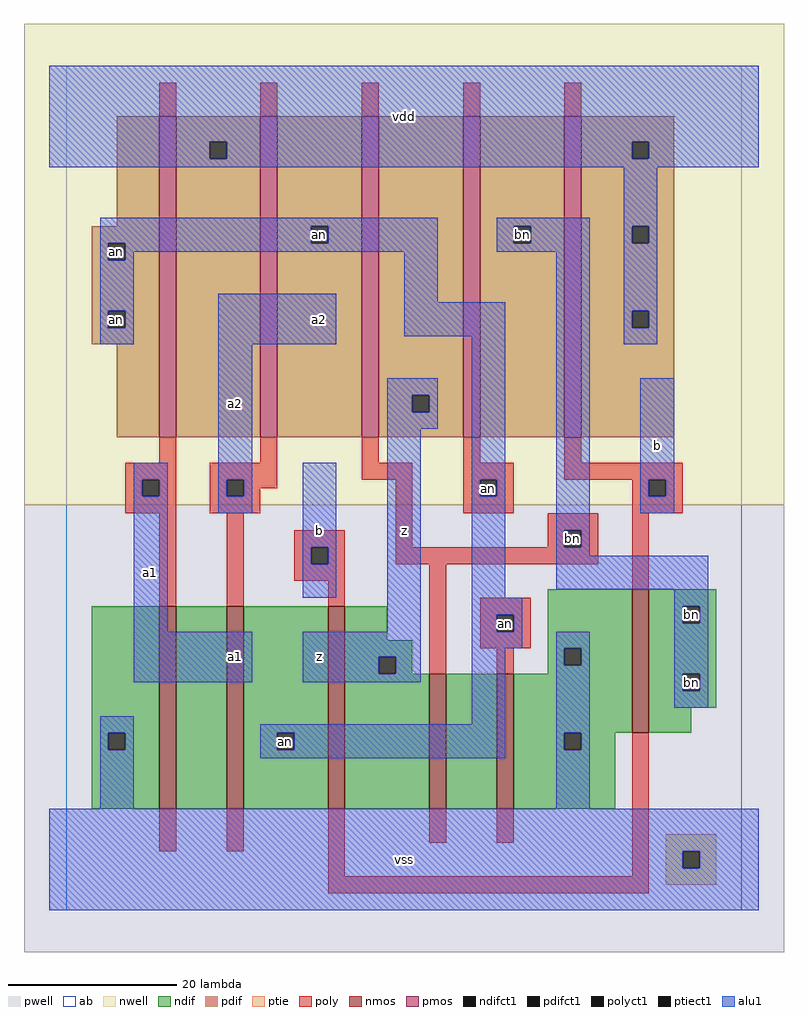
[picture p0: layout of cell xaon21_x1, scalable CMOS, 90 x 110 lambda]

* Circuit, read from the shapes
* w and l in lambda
.subckt xaon21_x1 a1 a2 an b bn vdd vss z
M1 n1 a1 vss vss nfet w=24 l=2
M2 an a2 n1 vss nfet w=24 l=2
M3 z b an vss nfet w=24 l=2
M4 n2 bn z vss nfet w=16 l=2
M5 vss an n2 vss nfet w=16 l=2
M6 bn b vss vss nfet w=17 l=2
M7 vdd a1 an n3 pfet w=38 l=2
M8 an a2 vdd n3 pfet w=38 l=2
M9 z bn an n3 pfet w=38 l=2
M10 bn an z n3 pfet w=38 l=2
M11 vdd b bn n3 pfet w=38 l=2
.ends

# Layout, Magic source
magic
tech scmos
<< ab >>
rect 0 0 80 100
<< nwell >>
rect -5 48 85 105
<< pwell >>
rect -5 -5 85 48
<< poly >>
rect 11 94 13 98
rect 23 94 25 98
rect 35 94 37 98
rect 47 94 49 98
rect 59 94 61 98
rect 11 53 13 56
rect 23 53 25 56
rect 7 51 13 53
rect 7 49 9 51
rect 11 49 13 51
rect 7 47 13 49
rect 17 51 25 53
rect 35 53 37 56
rect 47 53 49 56
rect 59 53 61 56
rect 35 51 41 53
rect 17 49 19 51
rect 21 50 25 51
rect 21 49 23 50
rect 17 47 23 49
rect 11 36 13 47
rect 19 36 21 47
rect 27 43 33 45
rect 27 41 29 43
rect 31 41 33 43
rect 39 43 41 51
rect 47 51 53 53
rect 59 51 73 53
rect 47 49 49 51
rect 51 49 53 51
rect 47 47 53 49
rect 67 49 69 51
rect 71 49 73 51
rect 67 47 73 49
rect 57 45 63 47
rect 57 43 59 45
rect 61 43 63 45
rect 39 41 63 43
rect 27 39 33 41
rect 31 36 33 39
rect 43 28 45 41
rect 67 38 69 47
rect 49 35 55 37
rect 49 33 51 35
rect 53 33 55 35
rect 49 31 55 33
rect 51 28 53 31
rect 11 7 13 12
rect 19 7 21 12
rect 31 4 33 12
rect 43 8 45 12
rect 51 8 53 12
rect 67 4 69 21
rect 31 2 69 4
<< ndif >>
rect 3 21 11 36
rect 3 19 5 21
rect 7 19 11 21
rect 3 12 11 19
rect 13 12 19 36
rect 21 21 31 36
rect 21 19 25 21
rect 27 19 31 21
rect 21 12 31 19
rect 33 32 38 36
rect 33 30 41 32
rect 33 28 37 30
rect 39 28 41 30
rect 57 31 67 38
rect 57 29 59 31
rect 61 29 67 31
rect 57 28 67 29
rect 33 12 43 28
rect 45 12 51 28
rect 53 21 67 28
rect 69 36 77 38
rect 69 34 73 36
rect 75 34 77 36
rect 69 28 77 34
rect 69 26 73 28
rect 75 26 77 28
rect 69 24 77 26
rect 69 21 74 24
rect 53 19 59 21
rect 61 19 65 21
rect 53 12 65 19
<< pdif >>
rect 6 81 11 94
rect 3 79 11 81
rect 3 77 5 79
rect 7 77 11 79
rect 3 71 11 77
rect 3 69 5 71
rect 7 69 11 71
rect 3 67 11 69
rect 6 56 11 67
rect 13 91 23 94
rect 13 89 17 91
rect 19 89 23 91
rect 13 56 23 89
rect 25 81 35 94
rect 25 79 29 81
rect 31 79 35 81
rect 25 56 35 79
rect 37 61 47 94
rect 37 59 41 61
rect 43 59 47 61
rect 37 56 47 59
rect 49 81 59 94
rect 49 79 53 81
rect 55 79 59 81
rect 49 56 59 79
rect 61 91 72 94
rect 61 89 67 91
rect 69 89 72 91
rect 61 81 72 89
rect 61 79 67 81
rect 69 79 72 81
rect 61 71 72 79
rect 61 69 67 71
rect 69 69 72 71
rect 61 56 72 69
<< alu1 >>
rect -2 91 82 100
rect -2 89 17 91
rect 19 89 67 91
rect 69 89 82 91
rect -2 88 82 89
rect 4 81 44 82
rect 4 79 29 81
rect 31 79 44 81
rect 4 77 5 79
rect 7 78 44 79
rect 51 81 62 82
rect 51 79 53 81
rect 55 79 62 81
rect 51 78 62 79
rect 7 77 8 78
rect 4 71 8 77
rect 4 69 5 71
rect 7 69 8 71
rect 4 67 8 69
rect 18 67 32 73
rect 40 72 44 78
rect 40 68 52 72
rect 8 51 12 53
rect 8 49 9 51
rect 11 49 12 51
rect 8 33 12 49
rect 18 51 22 67
rect 38 61 44 63
rect 38 59 41 61
rect 43 59 44 61
rect 38 57 44 59
rect 18 49 19 51
rect 21 49 22 51
rect 18 47 22 49
rect 28 43 32 53
rect 28 41 29 43
rect 31 41 32 43
rect 28 37 32 41
rect 38 33 42 57
rect 8 27 22 33
rect 28 30 42 33
rect 28 28 37 30
rect 39 28 42 30
rect 28 27 42 28
rect 48 51 52 68
rect 48 49 49 51
rect 51 49 52 51
rect 48 37 52 49
rect 58 45 62 78
rect 66 81 70 88
rect 66 79 67 81
rect 69 79 70 81
rect 66 71 70 79
rect 66 69 67 71
rect 69 69 70 71
rect 66 67 70 69
rect 68 51 72 63
rect 68 49 69 51
rect 71 49 72 51
rect 68 47 72 49
rect 58 43 59 45
rect 61 43 62 45
rect 58 42 62 43
rect 58 38 76 42
rect 48 35 54 37
rect 48 33 51 35
rect 53 33 54 35
rect 72 36 76 38
rect 72 34 73 36
rect 75 34 76 36
rect 48 31 54 33
rect 58 31 62 33
rect 4 21 8 23
rect 48 22 52 31
rect 4 19 5 21
rect 7 19 8 21
rect 4 12 8 19
rect 23 21 52 22
rect 23 19 25 21
rect 27 19 52 21
rect 23 18 52 19
rect 58 29 59 31
rect 61 29 62 31
rect 58 21 62 29
rect 72 28 76 34
rect 72 26 73 28
rect 75 26 76 28
rect 72 24 76 26
rect 58 19 59 21
rect 61 19 62 21
rect 58 12 62 19
rect -2 7 82 12
rect -2 5 73 7
rect 75 5 82 7
rect -2 0 82 5
<< ptie >>
rect 71 7 77 9
rect 71 5 73 7
rect 75 5 77 7
rect 71 3 77 5
<< nmos >>
rect 11 12 13 36
rect 19 12 21 36
rect 31 12 33 36
rect 43 12 45 28
rect 51 12 53 28
rect 67 21 69 38
<< pmos >>
rect 11 56 13 94
rect 23 56 25 94
rect 35 56 37 94
rect 47 56 49 94
rect 59 56 61 94
<< polyct1 >>
rect 9 49 11 51
rect 19 49 21 51
rect 29 41 31 43
rect 49 49 51 51
rect 69 49 71 51
rect 59 43 61 45
rect 51 33 53 35
<< ndifct1 >>
rect 5 19 7 21
rect 25 19 27 21
rect 37 28 39 30
rect 59 29 61 31
rect 73 34 75 36
rect 73 26 75 28
rect 59 19 61 21
<< ptiect1 >>
rect 73 5 75 7
<< pdifct1 >>
rect 5 77 7 79
rect 5 69 7 71
rect 17 89 19 91
rect 29 79 31 81
rect 41 59 43 61
rect 53 79 55 81
rect 67 89 69 91
rect 67 79 69 81
rect 67 69 69 71
<< labels >>
rlabel pdifct1 6 70 6 70 6 an
rlabel pdifct1 6 78 6 78 6 an
rlabel ndifct1 26 20 26 20 6 an
rlabel pdifct1 30 80 30 80 6 an
rlabel polyct1 52 34 52 34 6 an
rlabel polyct1 50 50 50 50 6 an
rlabel pdifct1 54 80 54 80 6 bn
rlabel ndifct1 74 27 74 27 6 bn
rlabel polyct1 60 44 60 44 6 bn
rlabel ndifct1 74 35 74 35 6 bn
rlabel alu1 10 40 10 40 6 a1
rlabel alu1 20 30 20 30 6 a1
rlabel alu1 30 45 30 45 6 b
rlabel alu1 30 30 30 30 6 z
rlabel alu1 20 60 20 60 6 a2
rlabel alu1 30 70 30 70 6 a2
rlabel alu1 40 6 40 6 6 vss
rlabel alu1 40 45 40 45 6 z
rlabel alu1 40 94 40 94 6 vdd
rlabel alu1 70 55 70 55 6 b
<< end >>
